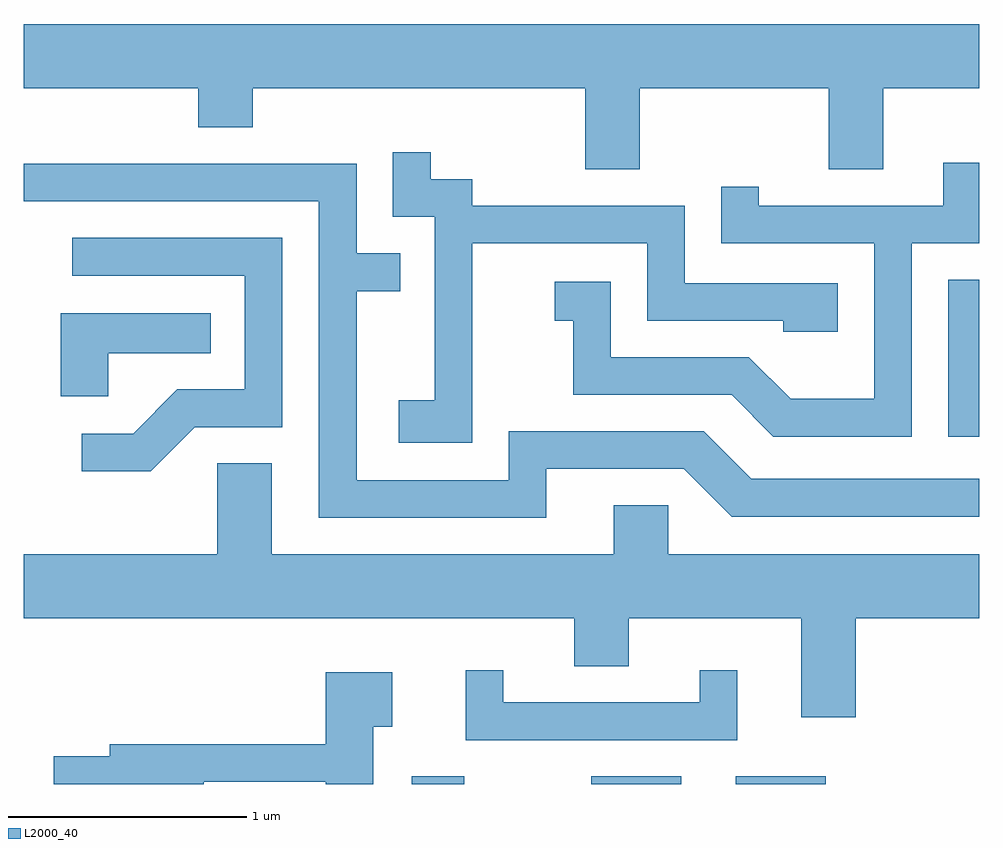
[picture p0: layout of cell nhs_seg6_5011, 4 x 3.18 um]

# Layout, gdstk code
import gdstk
lib = gdstk.Library(unit=1e-6, precision=1e-09)
def R(c, l, rs):  # rectangles x0, y0, x1, y1
    for r in rs: c.add(gdstk.rectangle(r[:2], r[2:], *l))
def P(c, l, *ps):  # polygons
    for p in ps: c.add(gdstk.Polygon(p, *l))
L2000_40 = (2000, 40)

nhs_seg6_5011 = lib.new_cell('nhs_seg6_5011')
R(nhs_seg6_5011, L2000_40, [(339.236,1618.162,339.454,1618.194), (339.986,1618.162,340.364,1618.194), (340.591,1618.162,340.969,1618.194), (341.481,1619.616,341.611,1620.274)])
P(nhs_seg6_5011, L2000_40, [(340.189,1621.076),(340.981,1621.076),(340.981,1620.736),(341.209,1620.736),(341.209,1621.076),(341.611,1621.076),(341.611,1621.344),(337.611,1621.344),(337.611,1621.076),(338.341,1621.076),(338.341,1620.911),(338.569,1620.911),(338.569,1621.076),(339.961,1621.076),(339.961,1620.736),(340.189,1620.736)],
  [(339.489,1620.426),(340.221,1620.426),(340.221,1620.101),(340.791,1620.101),(340.791,1620.056),(341.019,1620.056),(341.019,1620.259),(340.379,1620.259),(340.379,1620.584),(339.489,1620.584),(339.489,1620.694),(339.314,1620.694),(339.314,1620.808),(339.156,1620.808),(339.156,1620.536),(339.331,1620.536),(339.331,1619.769),(339.181,1619.769),(339.181,1619.591),(339.489,1619.591)],
  [(341.329,1620.426),(341.611,1620.426),(341.611,1620.763),(341.461,1620.763),(341.461,1620.584),(340.689,1620.584),(340.689,1620.663),(340.531,1620.663),(340.531,1620.426),(341.171,1620.426),(341.171,1619.774),(340.822,1619.774),(340.647,1619.949),(340.069,1619.949),(340.069,1620.264),(339.833,1620.264),(339.833,1620.101),(339.911,1620.101),(339.911,1619.791),(340.574,1619.791),(340.749,1619.616),(341.329,1619.616)],
  [(339.799,1619.481),(340.374,1619.481),(340.574,1619.281),(341.611,1619.281),(341.611,1619.439),(340.657,1619.439),(340.457,1619.639),(339.641,1619.639),(339.641,1619.434),(339.004,1619.434),(339.004,1620.226),(339.188,1620.226),(339.188,1620.384),(339.004,1620.384),(339.004,1620.759),(337.611,1620.759),(337.611,1620.601),(338.846,1620.601),(338.846,1619.276),(339.799,1619.276)],
  [(338.327,1619.656),(338.694,1619.656),(338.694,1620.449),(337.813,1620.449),(337.813,1620.291),(338.536,1620.291),(338.536,1619.814),(338.254,1619.814),(338.069,1619.629),(337.853,1619.629),(337.853,1619.471),(338.142,1619.471)],
  [(337.964,1619.966),(338.393,1619.966),(338.393,1620.134),(337.766,1620.134),(337.766,1619.786),(337.964,1619.786)],
  [(340.144,1618.856),(340.866,1618.856),(340.866,1618.441),(341.094,1618.441),(341.094,1618.856),(341.611,1618.856),(341.611,1619.124),(340.309,1619.124),(340.309,1619.329),(340.081,1619.329),(340.081,1619.124),(338.649,1619.124),(338.649,1619.504),(338.421,1619.504),(338.421,1619.124),(337.611,1619.124),(337.611,1618.856),(339.916,1618.856),(339.916,1618.656),(340.144,1618.656)],
  [(340.599,1618.638),(340.441,1618.638),(340.441,1618.504),(339.619,1618.504),(339.619,1618.638),(339.461,1618.638),(339.461,1618.346),(340.599,1618.346)],
  [(338.364,1618.171),(338.876,1618.171),(338.876,1618.162),(339.074,1618.162),(339.074,1618.401),(339.154,1618.401),(339.154,1618.629),(338.876,1618.629),(338.876,1618.329),(337.971,1618.329),(337.971,1618.279),(337.736,1618.279),(337.736,1618.162),(338.364,1618.162)])

lib.write_gds('nhs_seg6_5011.gds')
